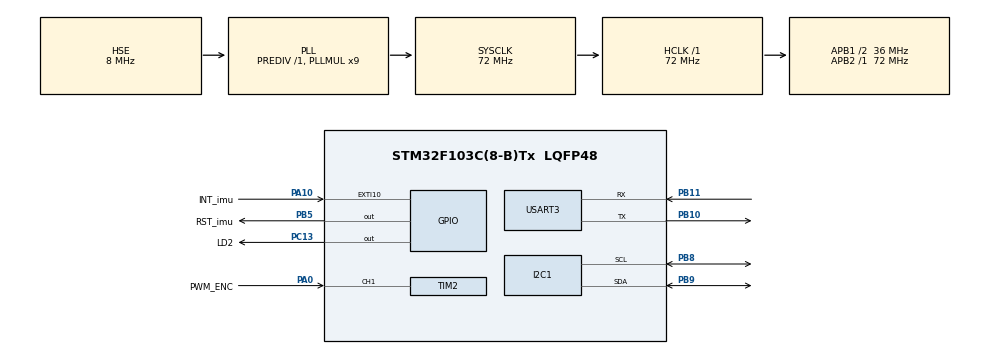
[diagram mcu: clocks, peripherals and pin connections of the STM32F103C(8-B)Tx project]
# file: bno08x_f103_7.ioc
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I2C1.I2C_Mode=I2C_Fast
Mcu.Family=STM32F1
Mcu.Name=STM32F103C(8-B)Tx
Mcu.Package=LQFP48
NVIC.EXTI15_10_IRQn=true\:0\:0\:false\:false\:true\:true\:true\:true
NVIC.PriorityGroup=NVIC_PRIORITYGROUP_4
NVIC.TIM2_IRQn=true\:0\:0\:false\:false\:true\:true\:true\:true
PA0-WKUP.GPIO_Label=PWM_ENC
PA0-WKUP.Signal=S_TIM2_CH1_ETR
PA10.GPIO_Label=INT_imu
PA10.GPIO_ModeDefaultEXTI=GPIO_MODE_IT_FALLING
PA10.Signal=GPXTI10
PA13.Mode=Serial_Wire
PA13.Signal=SYS_JTMS-SWDIO
PA14.Mode=Serial_Wire
PA14.Signal=SYS_JTCK-SWCLK
PB10.Mode=Asynchronous
PB10.Signal=USART3_TX
PB11.Mode=Asynchronous
PB11.Signal=USART3_RX
PB5.GPIO_Label=RST_imu
PB5.Signal=GPIO_Output
PB8.Mode=I2C
PB8.Signal=I2C1_SCL
PB9.Mode=I2C
PB9.Signal=I2C1_SDA
PC13-TAMPER-RTC.GPIO_Label=LD2
PC13-TAMPER-RTC.Signal=GPIO_Output
PD0-OSC_IN.Mode=HSE-External-Oscillator
PD0-OSC_IN.Signal=RCC_OSC_IN
PD1-OSC_OUT.Mode=HSE-External-Oscillator
PD1-OSC_OUT.Signal=RCC_OSC_OUT
ProjectManager.HeapSize=0x200
ProjectManager.StackSize=0x400
ProjectManager.TargetToolchain=STM32CubeIDE
RCC.AHBFreq_Value=72000000
RCC.APB1CLKDivider=RCC_HCLK_DIV2
RCC.APB1Freq_Value=36000000
RCC.APB1TimFreq_Value=72000000
RCC.APB2Freq_Value=72000000
RCC.APB2TimFreq_Value=72000000
RCC.HCLKFreq_Value=72000000
RCC.PLLMUL=RCC_PLL_MUL9
RCC.PLLSourceVirtual=RCC_PLLSOURCE_HSE
RCC.SYSCLKFreq_VALUE=72000000
RCC.SYSCLKSource=RCC_SYSCLKSOURCE_PLLCLK
RCC.USBFreq_Value=72000000
SH.S_TIM2_CH1_ETR.0=TIM2_CH1,PWM_Input_1
TIM2.Period=0xffff
TIM2.Prescaler=71
USART3.VirtualMode=VM_ASYNC
VP_TIM2_VS_ClockSourceINT.Mode=Internal
board=custom

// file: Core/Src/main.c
/* USER CODE BEGIN Header */
/**
  ******************************************************************************
  * @file           : main.c
  * @brief          : Main program body
  ******************************************************************************
  * @attention
  *
  * Copyright (c) 2026 STMicroelectronics.
  * All rights reserved.
  *
  * This software is licensed under terms that can be found in the LICENSE file
  * in the root directory of this software component.
  * If no LICENSE file comes with this software, it is provided AS-IS.
  *
  ******************************************************************************
  */
/* USER CODE END Header */
#include "main.h"
#include "i2c.h"
#include "tim.h"
#include "usart.h"
#include "gpio.h"

/* USER CODE BEGIN Includes */
#include "bno08x/imu.h"
#include "bno08x/telemetry.h"
#include "bno08x/encoder.h"

/* USER CODE END Includes */

/* USER CODE BEGIN PV */
uint8_t power_on_reset;
/* USER CODE END PV */

void SystemClock_Config(void);

int main(void)
{

  /* MCU Configuration--------------------------------------------------------*/

  /* Reset of all peripherals, Initializes the Flash interface and the Systick. */
  HAL_Init();

  /* Configure the system clock */
  SystemClock_Config();

  /* USER CODE BEGIN SysInit */
  // 1. Capturamos el estado ANTES de limpiar
    // Verificamos si el reset fue por encendido (POR) o Brown-out (BOR)
    if (__HAL_RCC_GET_FLAG(RCC_FLAG_PORRST) != RESET) {
        power_on_reset = 1U;
    } else {
        power_on_reset = 0U;
    }

    // 2. Limpiamos los flags para la próxima vez
    __HAL_RCC_CLEAR_RESET_FLAGS();

    // 3. Si fue un encendido en frío, esperamos al BNO08x
    if (power_on_reset == 1U) {
        // 500ms suelen ser suficientes para el BNO08x,
        // pero si pusiste 5000 (5 seg) por seguridad, está bien.
        HAL_Delay(1000);
    }
  /* USER CODE END SysInit */

  /* Initialize all configured peripherals */
  MX_GPIO_Init();
  MX_I2C1_Init();
  MX_USART3_UART_Init();
  MX_TIM2_Init();
  /* USER CODE BEGIN 2 */
  if (imu_init() != 0)
  {
      char err[] = "IMU INIT ERROR\r\n";
      HAL_UART_Transmit(&huart3, (uint8_t*)err, sizeof(err)-1, 100);
  }

  if (encoder_init() != 0)
  {
      char err[] = "ENCODER INIT ERROR\r\n";
      HAL_UART_Transmit(&huart3, (uint8_t*)err, sizeof(err)-1, 100);
  }

  char msg[] = "UART OK\r\n";
  HAL_UART_Transmit(&huart3, (uint8_t*)msg, sizeof(msg)-1, 100);
  /* USER CODE END 2 */

  /* Infinite loop */
  while (1)
  {

    /* USER CODE BEGIN 3 */

    // ===== SERVICIO DEL MÓDULO IMU =====
    // Esta función:
    // - Lee datos del IMU vía sh2_service() (no bloquea)
    // - Procesa datos si están disponibles
    // - Copia datos calculados a g_systemState
    imu_service();

    // ===== ENVÍO DE TELEMETRÍA =====
    // Envía el estado del sistema por UART
    telemetry_send();

    // Delay para evitar saturar el CPU
    HAL_Delay(1);
  }
  /* USER CODE END 3 */
}

void SystemClock_Config(void)
{
  RCC_OscInitTypeDef RCC_OscInitStruct = {0};
  RCC_ClkInitTypeDef RCC_ClkInitStruct = {0};

  /** Initializes the RCC Oscillators according to the specified parameters
  * in the RCC_OscInitTypeDef structure.
  */
  RCC_OscInitStruct.OscillatorType = RCC_OSCILLATORTYPE_HSE;
  RCC_OscInitStruct.HSEState = RCC_HSE_ON;
  RCC_OscInitStruct.HSEPredivValue = RCC_HSE_PREDIV_DIV1;
  RCC_OscInitStruct.HSIState = RCC_HSI_ON;
  RCC_OscInitStruct.PLL.PLLState = RCC_PLL_ON;
  RCC_OscInitStruct.PLL.PLLSource = RCC_PLLSOURCE_HSE;
  RCC_OscInitStruct.PLL.PLLMUL = RCC_PLL_MUL9;
  if (HAL_RCC_OscConfig(&RCC_OscInitStruct) != HAL_OK)
  {
    Error_Handler();
  }

  /** Initializes the CPU, AHB and APB buses clocks
  */
  RCC_ClkInitStruct.ClockType = RCC_CLOCKTYPE_HCLK|RCC_CLOCKTYPE_SYSCLK
                              |RCC_CLOCKTYPE_PCLK1|RCC_CLOCKTYPE_PCLK2;
  RCC_ClkInitStruct.SYSCLKSource = RCC_SYSCLKSOURCE_PLLCLK;
  RCC_ClkInitStruct.AHBCLKDivider = RCC_SYSCLK_DIV1;
  RCC_ClkInitStruct.APB1CLKDivider = RCC_HCLK_DIV2;
  RCC_ClkInitStruct.APB2CLKDivider = RCC_HCLK_DIV1;

  if (HAL_RCC_ClockConfig(&RCC_ClkInitStruct, FLASH_LATENCY_2) != HAL_OK)
  {
    Error_Handler();
  }
}

/* USER CODE BEGIN 4 */

void HAL_GPIO_EXTI_Callback(uint16_t GPIO_Pin)
{
	if(GPIO_Pin == INT_imu_Pin)
	{
		HAL_GPIO_TogglePin(LD2_GPIO_Port, LD2_Pin);
	}
}

/* USER CODE END 4 */

void Error_Handler(void)
{
  __disable_irq();
  while (1)
  {
  }
}
